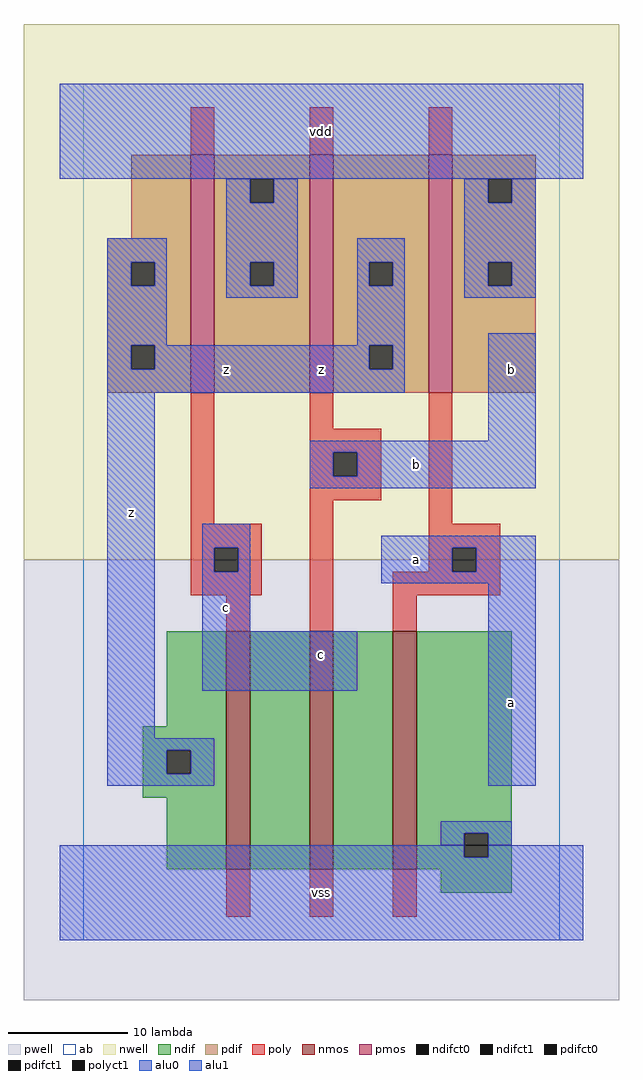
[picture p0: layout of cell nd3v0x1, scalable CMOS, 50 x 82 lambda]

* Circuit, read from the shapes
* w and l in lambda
.subckt nd3v0x1 a b c vdd vss z
M1 n1 c z VSUBS nfet w=20 l=2
M2 n2 b n1 VSUBS nfet w=20 l=2
M3 vss a n2 VSUBS nfet w=20 l=2
M4 vdd c z n3 pfet w=20 l=2
M5 z b vdd n3 pfet w=20 l=2
M6 vdd a z n3 pfet w=20 l=2
.ends

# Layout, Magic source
magic
tech scmos
<< ab >>
rect 0 0 40 72
<< nwell >>
rect -5 32 45 77
<< pwell >>
rect -5 -5 45 32
<< poly >>
rect 9 66 11 70
rect 19 66 21 70
rect 29 66 31 70
rect 9 35 11 46
rect 19 43 21 46
rect 19 41 25 43
rect 19 39 21 41
rect 23 39 25 41
rect 19 37 25 39
rect 9 33 15 35
rect 9 31 11 33
rect 13 31 15 33
rect 9 29 15 31
rect 12 26 14 29
rect 19 26 21 37
rect 29 35 31 46
rect 29 33 35 35
rect 29 31 31 33
rect 33 31 35 33
rect 26 29 35 31
rect 26 26 28 29
rect 12 2 14 6
rect 19 2 21 6
rect 26 2 28 6
<< ndif >>
rect 7 18 12 26
rect 5 16 12 18
rect 5 14 7 16
rect 9 14 12 16
rect 5 12 12 14
rect 7 6 12 12
rect 14 6 19 26
rect 21 6 26 26
rect 28 9 36 26
rect 28 7 32 9
rect 34 7 36 9
rect 28 6 36 7
rect 30 4 36 6
<< pdif >>
rect 4 59 9 66
rect 2 57 9 59
rect 2 55 4 57
rect 6 55 9 57
rect 2 50 9 55
rect 2 48 4 50
rect 6 48 9 50
rect 2 46 9 48
rect 11 64 19 66
rect 11 62 14 64
rect 16 62 19 64
rect 11 57 19 62
rect 11 55 14 57
rect 16 55 19 57
rect 11 46 19 55
rect 21 57 29 66
rect 21 55 24 57
rect 26 55 29 57
rect 21 50 29 55
rect 21 48 24 50
rect 26 48 29 50
rect 21 46 29 48
rect 31 64 38 66
rect 31 62 34 64
rect 36 62 38 64
rect 31 57 38 62
rect 31 55 34 57
rect 36 55 38 57
rect 31 46 38 55
<< alu1 >>
rect -2 64 42 72
rect 2 57 7 59
rect 2 55 4 57
rect 6 55 7 57
rect 2 50 7 55
rect 23 57 27 59
rect 23 55 24 57
rect 26 55 27 57
rect 23 50 27 55
rect 2 48 4 50
rect 6 48 24 50
rect 26 48 27 50
rect 2 46 27 48
rect 2 17 6 46
rect 34 42 38 51
rect 19 41 38 42
rect 19 39 21 41
rect 23 39 38 41
rect 19 38 38 39
rect 10 33 14 35
rect 10 31 11 33
rect 13 31 14 33
rect 10 26 14 31
rect 25 33 38 34
rect 25 31 31 33
rect 33 31 38 33
rect 25 30 38 31
rect 10 21 23 26
rect 2 16 11 17
rect 2 14 7 16
rect 9 14 11 16
rect 2 13 11 14
rect 34 13 38 30
rect -2 7 32 8
rect 34 7 42 8
rect -2 0 42 7
<< nmos >>
rect 12 6 14 26
rect 19 6 21 26
rect 26 6 28 26
<< pmos >>
rect 9 46 11 66
rect 19 46 21 66
rect 29 46 31 66
<< polyct1 >>
rect 21 39 23 41
rect 11 31 13 33
rect 31 31 33 33
<< ndifct0 >>
rect 32 8 34 9
<< ndifct1 >>
rect 7 14 9 16
rect 32 7 34 8
<< pdifct0 >>
rect 14 62 16 64
rect 14 55 16 57
rect 34 62 36 64
rect 34 55 36 57
<< pdifct1 >>
rect 4 55 6 57
rect 4 48 6 50
rect 24 55 26 57
rect 24 48 26 50
<< alu0 >>
rect 12 62 14 64
rect 16 62 18 64
rect 12 57 18 62
rect 32 62 34 64
rect 36 62 38 64
rect 12 55 14 57
rect 16 55 18 57
rect 12 54 18 55
rect 32 57 38 62
rect 32 55 34 57
rect 36 55 38 57
rect 32 54 38 55
rect 30 9 36 10
rect 30 8 32 9
rect 34 8 36 9
<< labels >>
rlabel alu1 4 36 4 36 6 z
rlabel alu1 12 28 12 28 6 c
rlabel alu1 12 48 12 48 6 z
rlabel alu1 20 4 20 4 6 vss
rlabel alu1 20 24 20 24 6 c
rlabel alu1 28 32 28 32 6 a
rlabel alu1 28 40 28 40 6 b
rlabel alu1 20 48 20 48 6 z
rlabel alu1 20 68 20 68 6 vdd
rlabel alu1 36 20 36 20 6 a
rlabel alu1 36 48 36 48 6 b
<< end >>
